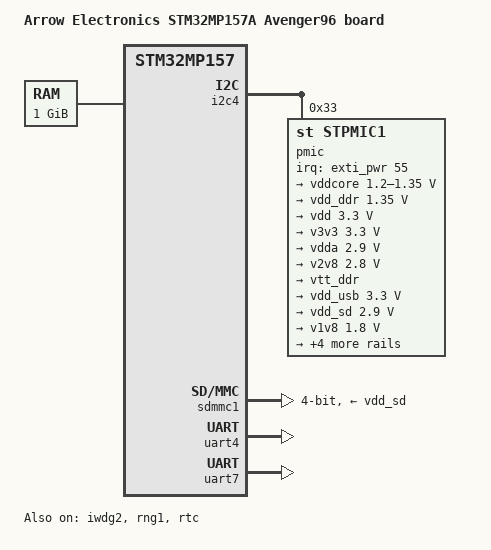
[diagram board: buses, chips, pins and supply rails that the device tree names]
// SPDX-License-Identifier: (GPL-2.0+ OR BSD-3-Clause)
/*
 * Copyright (C) Arrow Electronics 2019 - All Rights Reserved
 * Author: Botond Kardos <botond.kardos@arroweurope.com>
 *
 * Copyright (C) Linaro Ltd 2019 - All Rights Reserved
 * Author: Manivannan Sadhasivam <manivannan.sadhasivam@linaro.org>
 */

/dts-v1/;

#include "stm32mp157.dtsi"
#include "stm32mp15-pinctrl.dtsi"
#include "stm32mp15xxac-pinctrl.dtsi"
#include <dt-bindings/clock/stm32mp1-clksrc.h>
#include "stm32mp15-ddr3-2x4Gb-1066-binG.dtsi"

/ {
	model = "Arrow Electronics STM32MP157A Avenger96 board";
	compatible = "arrow,stm32mp157a-avenger96", "st,stm32mp157";

	aliases {
		mmc0 = &sdmmc1;
		serial0 = &uart4;
		serial1 = &uart7;
	};

	chosen {
		stdout-path = "serial0:115200n8";
	};

	memory@c0000000 {
		device_type = "memory";
		reg = <0xc0000000 0x40000000>;
	};
};

&i2c4 {
	pinctrl-names = "default";
	pinctrl-0 = <&i2c4_pins_a>;
	i2c-scl-rising-time-ns = <185>;
	i2c-scl-falling-time-ns = <20>;
	status = "okay";

	pmic: stpmic@33 {
		compatible = "st,stpmic1";
		reg = <0x33>;
		interrupts-extended = <&exti_pwr 55 IRQ_TYPE_EDGE_FALLING>;
		interrupt-controller;
		#interrupt-cells = <2>;
		status = "okay";

		st,main-control-register = <0x04>;
		st,vin-control-register = <0xc0>;
		st,usb-control-register = <0x30>;

		regulators {
			compatible = "st,stpmic1-regulators";
			ldo1-supply = <&v3v3>;
			ldo2-supply = <&v3v3>;
			ldo3-supply = <&vdd_ddr>;
			ldo5-supply = <&v3v3>;
			ldo6-supply = <&v3v3>;
			pwr_sw1-supply = <&bst_out>;
			pwr_sw2-supply = <&bst_out>;

			vddcore: buck1 {
				regulator-name = "vddcore";
				regulator-min-microvolt = <1200000>;
				regulator-max-microvolt = <1350000>;
				regulator-always-on;
				regulator-initial-mode = <0>;
				regulator-over-current-protection;
			};

			vdd_ddr: buck2 {
				regulator-name = "vdd_ddr";
				regulator-min-microvolt = <1350000>;
				regulator-max-microvolt = <1350000>;
				regulator-always-on;
				regulator-initial-mode = <0>;
				regulator-over-current-protection;
			};

			vdd: buck3 {
				regulator-name = "vdd";
				regulator-min-microvolt = <3300000>;
				regulator-max-microvolt = <3300000>;
				regulator-always-on;
				st,mask-reset;
				regulator-initial-mode = <0>;
				regulator-over-current-protection;
			};

			v3v3: buck4 {
				regulator-name = "v3v3";
				regulator-min-microvolt = <3300000>;
				regulator-max-microvolt = <3300000>;
				regulator-always-on;
				regulator-over-current-protection;
				regulator-initial-mode = <0>;
			};

			vdda: ldo1 {
				regulator-name = "vdda";
				regulator-min-microvolt = <2900000>;
				regulator-max-microvolt = <2900000>;
			};

			v2v8: ldo2 {
				regulator-name = "v2v8";
				regulator-min-microvolt = <2800000>;
				regulator-max-microvolt = <2800000>;
			};

			vtt_ddr: ldo3 {
				regulator-name = "vtt_ddr";
				regulator-always-on;
				regulator-over-current-protection;
				st,regulator-sink-source;
			};

			vdd_usb: ldo4 {
				regulator-name = "vdd_usb";
				regulator-min-microvolt = <3300000>;
				regulator-max-microvolt = <3300000>;
			};

			vdd_sd: ldo5 {
				regulator-name = "vdd_sd";
				regulator-min-microvolt = <2900000>;
				regulator-max-microvolt = <2900000>;
				regulator-boot-on;
			};

			v1v8: ldo6 {
				regulator-name = "v1v8";
				regulator-min-microvolt = <1800000>;
				regulator-max-microvolt = <1800000>;
			};

			vref_ddr: vref_ddr {
				regulator-name = "vref_ddr";
				regulator-always-on;
			};

			bst_out: boost {
				regulator-name = "bst_out";
			};

			vbus_otg: pwr_sw1 {
				regulator-name = "vbus_otg";
			};

			vbus_sw: pwr_sw2 {
				regulator-name = "vbus_sw";
				regulator-active-discharge = <1>;
			};
		};
	};
};

&iwdg2 {
	timeout-sec = <32>;
	status = "okay";
};

&pwr_regulators {
	vdd-supply = <&vdd>;
	vdd_3v3_usbfs-supply = <&vdd_usb>;
};

&rcc {
	st,clksrc = <
		CLK_MPU_PLL1P
		CLK_AXI_PLL2P
		CLK_MCU_PLL3P
		CLK_RTC_LSE
		CLK_MCO1_DISABLED
		CLK_MCO2_DISABLED
		CLK_CKPER_HSE
		CLK_FMC_ACLK
		CLK_QSPI_ACLK
		CLK_ETH_DISABLED
		CLK_SDMMC12_PLL4P
		CLK_DSI_DSIPLL
		CLK_STGEN_HSE
		CLK_USBPHY_HSE
		CLK_SPI2S1_PLL3Q
		CLK_SPI2S23_PLL3Q
		CLK_SPI45_HSI
		CLK_SPI6_HSI
		CLK_I2C46_HSI
		CLK_SDMMC3_PLL4P
		CLK_USBO_USBPHY
		CLK_ADC_CKPER
		CLK_CEC_LSE
		CLK_I2C12_HSI
		CLK_I2C35_HSI
		CLK_UART1_HSI
		CLK_UART24_HSI
		CLK_UART35_HSI
		CLK_UART6_HSI
		CLK_UART78_HSI
		CLK_SPDIF_PLL4P
		CLK_FDCAN_PLL4R
		CLK_SAI1_PLL3Q
		CLK_SAI2_PLL3Q
		CLK_SAI3_PLL3Q
		CLK_SAI4_PLL3Q
		CLK_RNG1_CSI
		CLK_RNG2_LSI
		CLK_LPTIM1_PCLK1
		CLK_LPTIM23_PCLK3
		CLK_LPTIM45_LSE
	>;

	st,clkdiv = <
		DIV(DIV_MPU, 1)
		DIV(DIV_AXI, 0)
		DIV(DIV_MCU, 0)
		DIV(DIV_APB1, 1)
		DIV(DIV_APB2, 1)
		DIV(DIV_APB3, 1)
		DIV(DIV_APB4, 1)
		DIV(DIV_APB5, 2)
		DIV(DIV_RTC, 23)
		DIV(DIV_MCO1, 0)
		DIV(DIV_MCO2, 0)
	>;

	st,pll_vco {
		pll2_vco_1066Mhz: pll2-vco-1066Mhz {
			src = <CLK_PLL12_HSE>;
			divmn = <2 65>;
			frac = <0x1400>;
		};

		pll3_vco_417Mhz: pll3-vco-417Mhz {
			src = <CLK_PLL3_HSE>;
			divmn = <1 33>;
			frac = <0x1a04>;
		};

		pll4_vco_480Mhz: pll4-vco-480Mhz {
			src = <CLK_PLL4_HSE>;
			divmn = <1 39>;
		};
	};

	/* VCO = 1066.0 MHz => P = 266 (AXI), Q = 533 (GPU), R = 533 (DDR) */
	pll2: st,pll@1 {
		compatible = "st,stm32mp1-pll";
		reg = <1>;

		st,pll = <&pll2_cfg1>;

		pll2_cfg1: pll2_cfg1 {
			st,pll_vco = <&pll2_vco_1066Mhz>;
			st,pll_div_pqr = <1 0 0>;
		};
	};

	/* VCO = 417.8 MHz => P = 209, Q = 24, R = 11 */
	pll3: st,pll@2 {
		compatible = "st,stm32mp1-pll";
		reg = <2>;

		st,pll = <&pll3_cfg1>;

		pll3_cfg1: pll3_cfg1 {
			st,pll_vco = <&pll3_vco_417Mhz>;
			st,pll_div_pqr = <1 16 36>;
		};
	};

	/* VCO = 480.0 MHz => P = 120, Q = 40, R = 96 */
	pll4: st,pll@3 {
		compatible = "st,stm32mp1-pll";
		reg = <3>;

		st,pll = <&pll4_cfg1>;

		pll4_cfg1: pll4_cfg1 {
			st,pll_vco = <&pll4_vco_480Mhz>;
			st,pll_div_pqr = <3 11 4>;
		};
	};
};

&rng1 {
	status = "okay";
};

&rtc {
	status = "okay";
};

&sdmmc1 {
	pinctrl-names = "default";
	pinctrl-0 = <&sdmmc1_b4_pins_a &sdmmc1_dir_pins_a>;
	st,sig-dir;
	st,neg-edge;
	st,use-ckin;
	bus-width = <4>;
	vmmc-supply = <&vdd_sd>;
	status = "okay";
};

&uart4 {
	/* On Low speed expansion header */
	label = "LS-UART1";
	pinctrl-names = "default";
	pinctrl-0 = <&uart4_pins_b>;
	status = "okay";
};

&uart7 {
	/* On Low speed expansion header */
	label = "LS-UART0";
	pinctrl-names = "default";
	pinctrl-0 = <&uart7_pins_a>;
	status = "okay";
};
